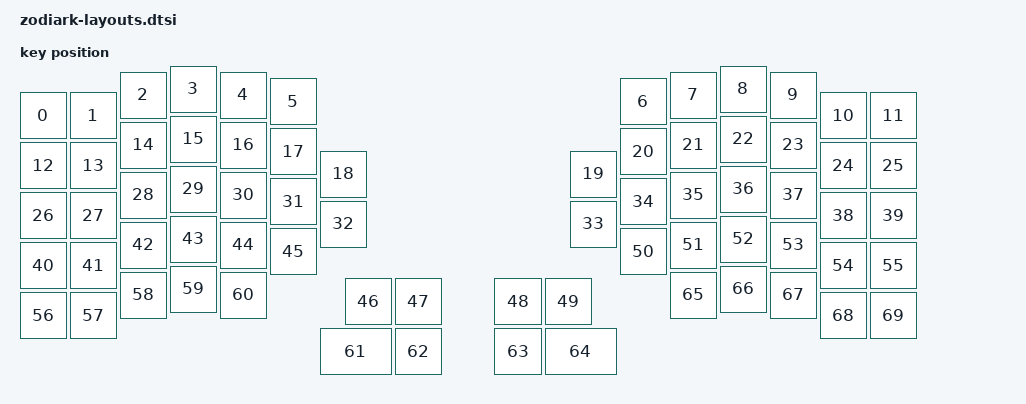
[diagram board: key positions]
/ {
    zodiark_layout: zodiark_layout {
        compatible = "zmk,physical-layout";
        display-name = "Default";
        kscan = <&kscan0>;
        transform = <&matrix_transform0>;

        keys  //                     w   h    x    y     rot    rx    ry
            = <&key_physical_attrs 100 100    0   53       0     0     0>
            , <&key_physical_attrs 100 100  100   53       0     0     0>
            , <&key_physical_attrs 100 100  200   12       0     0     0>
            , <&key_physical_attrs 100 100  300    0       0     0     0>
            , <&key_physical_attrs 100 100  400   12       0     0     0>
            , <&key_physical_attrs 100 100  500   25       0     0     0>
            , <&key_physical_attrs 100 100 1200   25       0     0     0>
            , <&key_physical_attrs 100 100 1300   12       0     0     0>
            , <&key_physical_attrs 100 100 1400    0       0     0     0>
            , <&key_physical_attrs 100 100 1500   12       0     0     0>
            , <&key_physical_attrs 100 100 1600   53       0     0     0>
            , <&key_physical_attrs 100 100 1700   53       0     0     0>
            , <&key_physical_attrs 100 100    0  153       0     0     0>
            , <&key_physical_attrs 100 100  100  153       0     0     0>
            , <&key_physical_attrs 100 100  200  112       0     0     0>
            , <&key_physical_attrs 100 100  300  100       0     0     0>
            , <&key_physical_attrs 100 100  400  112       0     0     0>
            , <&key_physical_attrs 100 100  500  125       0     0     0>
            , <&key_physical_attrs 100 100  600  170       0     0     0>
            , <&key_physical_attrs 100 100 1100  170       0     0     0>
            , <&key_physical_attrs 100 100 1200  125       0     0     0>
            , <&key_physical_attrs 100 100 1300  112       0     0     0>
            , <&key_physical_attrs 100 100 1400  100       0     0     0>
            , <&key_physical_attrs 100 100 1500  112       0     0     0>
            , <&key_physical_attrs 100 100 1600  153       0     0     0>
            , <&key_physical_attrs 100 100 1700  153       0     0     0>
            , <&key_physical_attrs 100 100    0  253       0     0     0>
            , <&key_physical_attrs 100 100  100  253       0     0     0>
            , <&key_physical_attrs 100 100  200  212       0     0     0>
            , <&key_physical_attrs 100 100  300  200       0     0     0>
            , <&key_physical_attrs 100 100  400  212       0     0     0>
            , <&key_physical_attrs 100 100  500  225       0     0     0>
            , <&key_physical_attrs 100 100  600  270       0     0     0>
            , <&key_physical_attrs 100 100 1100  270       0     0     0>
            , <&key_physical_attrs 100 100 1200  225       0     0     0>
            , <&key_physical_attrs 100 100 1300  212       0     0     0>
            , <&key_physical_attrs 100 100 1400  200       0     0     0>
            , <&key_physical_attrs 100 100 1500  212       0     0     0>
            , <&key_physical_attrs 100 100 1600  253       0     0     0>
            , <&key_physical_attrs 100 100 1700  253       0     0     0>
            , <&key_physical_attrs 100 100    0  353       0     0     0>
            , <&key_physical_attrs 100 100  100  353       0     0     0>
            , <&key_physical_attrs 100 100  200  312       0     0     0>
            , <&key_physical_attrs 100 100  300  300       0     0     0>
            , <&key_physical_attrs 100 100  400  312       0     0     0>
            , <&key_physical_attrs 100 100  500  325       0     0     0>
            , <&key_physical_attrs 100 100  650  425       0     0     0>
            , <&key_physical_attrs 100 100  750  425       0     0     0>
            , <&key_physical_attrs 100 100  950  425       0     0     0>
            , <&key_physical_attrs 100 100 1050  425       0     0     0>
            , <&key_physical_attrs 100 100 1200  325       0     0     0>
            , <&key_physical_attrs 100 100 1300  312       0     0     0>
            , <&key_physical_attrs 100 100 1400  300       0     0     0>
            , <&key_physical_attrs 100 100 1500  312       0     0     0>
            , <&key_physical_attrs 100 100 1600  353       0     0     0>
            , <&key_physical_attrs 100 100 1700  353       0     0     0>
            , <&key_physical_attrs 100 100    0  453       0     0     0>
            , <&key_physical_attrs 100 100  100  453       0     0     0>
            , <&key_physical_attrs 100 100  200  412       0     0     0>
            , <&key_physical_attrs 100 100  300  400       0     0     0>
            , <&key_physical_attrs 100 100  400  412       0     0     0>
            , <&key_physical_attrs 150 100  600  525       0     0     0>
            , <&key_physical_attrs 100 100  750  525       0     0     0>
            , <&key_physical_attrs 100 100  950  525       0     0     0>
            , <&key_physical_attrs 150 100 1050  525       0     0     0>
            , <&key_physical_attrs 100 100 1300  412       0     0     0>
            , <&key_physical_attrs 100 100 1400  400       0     0     0>
            , <&key_physical_attrs 100 100 1500  412       0     0     0>
            , <&key_physical_attrs 100 100 1600  453       0     0     0>
            , <&key_physical_attrs 100 100 1700  453       0     0     0>
            ;
    };
};

